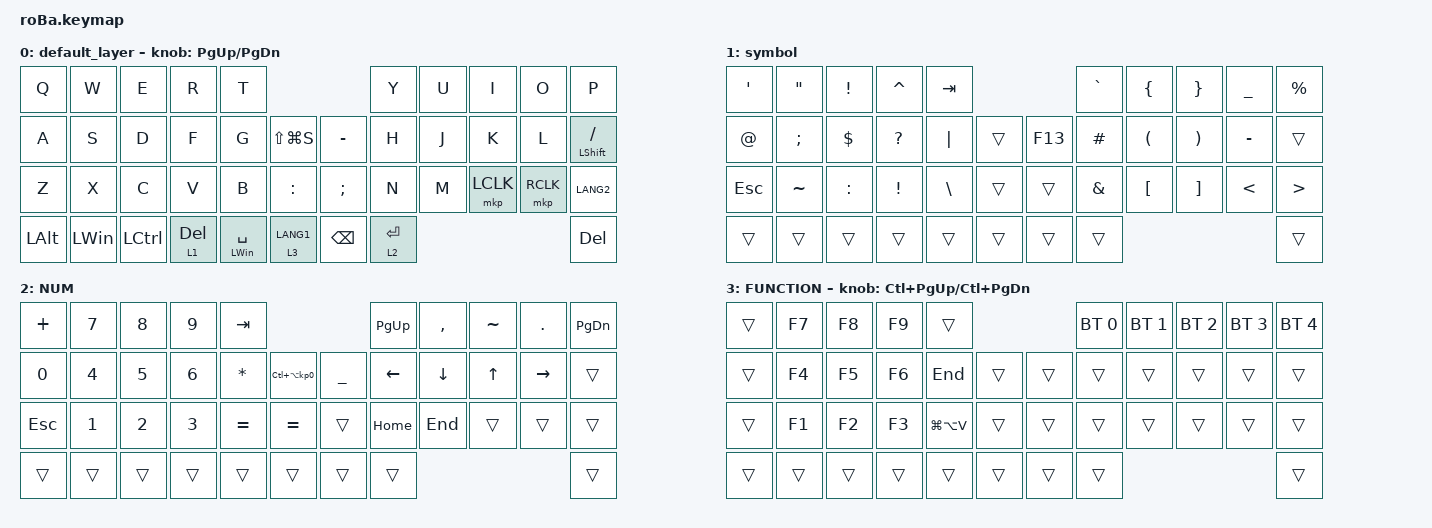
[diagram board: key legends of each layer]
#include <behaviors.dtsi>
#include <dt-bindings/zmk/bt.h>
#include <dt-bindings/zmk/keys.h>
#include <dt-bindings/zmk/pointing.h>

# define ZMK_POINTING_DEFAULT_SCRL_VAL 100

&mt {
    flavor = "balanced";
    quick-tap-ms = <0>;
};

&trackball {
    automouse-layer = <4>;
    scroll-layers = <3>;

    // arrows {
    //     layers = <3>;
    //     bindings =
    //         <&kp RIGHT_ARROW>,
    //         <&kp LEFT_ARROW>,
    //         <&kp UP_ARROW>,
    //         <&kp DOWN_ARROW>;
    //     tick = <10>;
    //     wait-ms = <5>;
    //     tap-ms = <5>;
    // };
};

/ {
    combos {
        compatible = "zmk,combos";

        tab {
            bindings = <&kp TAB>;
            key-positions = <11 12>;
        };

        shift_tab {
            bindings = <&kp LS(TAB)>;
            key-positions = <12 13>;
        };

        muhennkann {
            bindings = <&to_layer_0 INT_MUHENKAN>;
            key-positions = <11 10>;
        };

        double_quotation {
            bindings = <&kp DOUBLE_QUOTES>;
            key-positions = <20 21>;
        };

        eq {
            bindings = <&kp EQUAL>;
            key-positions = <24 25>;
        };
    };

    macros {
        to_layer_0: to_layer_0 {
            compatible = "zmk,behavior-macro-one-param";
            #binding-cells = <1>;
            bindings = <&to 0 &macro_param_1to1 &kp MACRO_PLACEHOLDER>;
            label = "TO_LAYER_0";
        };
    };

    behaviors {
        encoder_msc_down_up: encoder_msc_down_up {
            compatible = "zmk,behavior-sensor-rotate";
            label = "ENCODER_MSC_DOWN_UP";
            #sensor-binding-cells = <0>;
            bindings = <&msc SCRL_DOWN>, <&msc SCRL_UP>;

            tap-ms = <20>;
        };
    };

    keymap {
        compatible = "zmk,keymap";

        default_layer {
            bindings = <
&kp Q         &kp W         &kp E      &kp R         &kp T                                             &kp Y        &kp U  &kp I      &kp O      &kp P
&kp A         &kp S         &kp D      &kp F         &kp G           &kp LS(LG(S))      &kp MINUS      &kp H        &kp J  &kp K      &kp L      &mt LEFT_SHIFT SLASH
&kp Z         &kp X         &kp C      &kp V         &kp B           &kp COLON          &kp SEMICOLON  &kp N        &kp M  &mkp LCLK  &mkp RCLK  &kp LANG2
&kp LEFT_ALT  &kp LEFT_WIN  &kp LCTRL  &lt 1 DELETE  &mt LWIN SPACE  &lt 3 LANG1        &kp BACKSPACE  &lt 2 ENTER                               &kp DEL
            >;

            sensor-bindings = <&inc_dec_kp PAGE_UP PAGE_DOWN>;
        };

        symbol {
            bindings = <
&kp SINGLE_QUOTE  &kp DOUBLE_QUOTES  &kp EXCL    &kp CARET     &kp TAB                             &kp GRAVE      &kp LEFT_BRACE        &kp RIGHT_BRACE        &kp UNDER      &kp PERCENT
&kp AT            &kp SEMI           &kp DOLLAR  &kp QUESTION  &kp PIPE       &trans      &kp F13  &kp HASH       &kp LEFT_PARENTHESIS  &kp RIGHT_PARENTHESIS  &kp MINUS      &trans
&kp ESC           &kp TILDE          &kp COLON   &kp EXCL      &kp BACKSLASH  &trans      &trans   &kp AMPERSAND  &kp LEFT_BRACKET      &kp RIGHT_BRACKET      &kp LESS_THAN  &kp GREATER_THAN
&trans            &trans             &trans      &trans        &trans         &trans      &trans   &trans                                                                     &trans
            >;
        };

        NUM {
            bindings = <
&kp PLUS      &kp N7        &kp N8        &kp N9        &kp TAB                                                    &kp PAGE_UP     &kp COMMA       &kp TILDE     &kp PERIOD       &kp PAGE_DOWN
&kp NUMBER_0  &kp NUMBER_4  &kp N5        &kp NUMBER_6  &kp ASTERISK  &kp LC(LA(KP_NUMBER_0))      &kp UNDERSCORE  &kp LEFT_ARROW  &kp DOWN_ARROW  &kp UP_ARROW  &kp RIGHT_ARROW  &trans
&kp ESC       &kp NUMBER_1  &kp NUMBER_2  &kp NUMBER_3  &kp EQUAL     &kp EQUAL                    &trans          &kp HOME        &kp END         &trans        &trans           &trans
&trans        &trans        &trans        &trans        &trans        &trans                       &trans          &trans                                                         &trans
            >;
        };

        FUNCTION {
            bindings = <
&trans  &kp F7  &kp F8  &kp F9  &trans                             &bt BT_SEL 0  &bt BT_SEL 1  &bt BT_SEL 2  &bt BT_SEL 3  &bt BT_SEL 4
&trans  &kp F4  &kp F5  &kp F6  &kp END        &trans      &trans  &trans        &trans        &trans        &trans        &trans
&trans  &kp F1  &kp F2  &kp F3  &kp LG(LA(V))  &trans      &trans  &trans        &trans        &trans        &trans        &trans
&trans  &trans  &trans  &trans  &trans         &trans      &trans  &trans                                                  &trans
            >;

            sensor-bindings = <&inc_dec_kp LC(PAGE_UP) LC(PAGE_DOWN)>;
        };
    };
};
